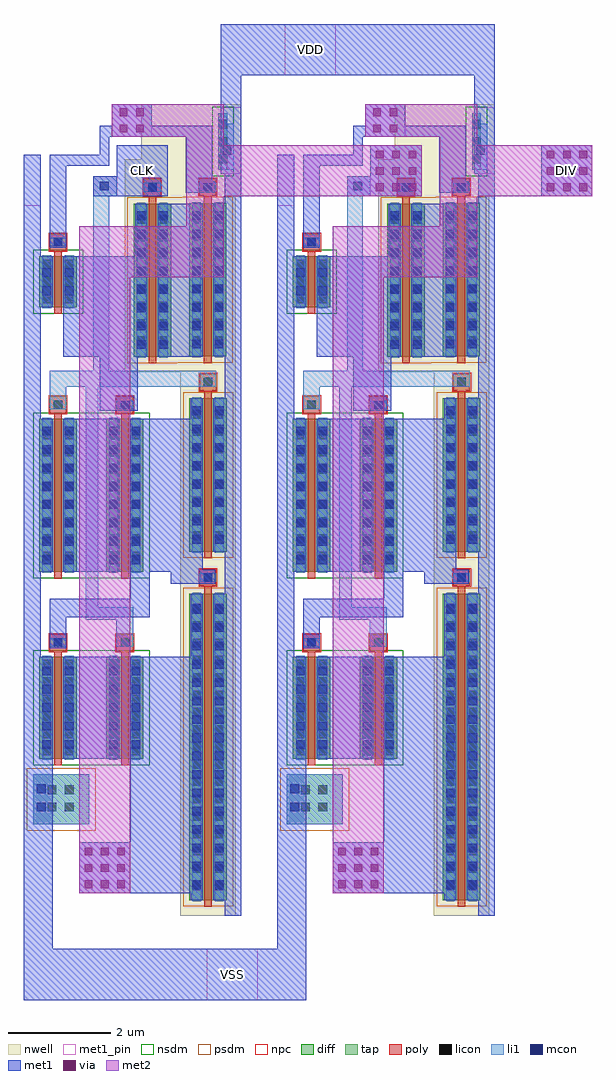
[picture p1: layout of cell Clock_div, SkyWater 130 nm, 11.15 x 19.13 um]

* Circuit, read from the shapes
.subckt Clock_div CLK DIV VDD VSS
XM1 n1 n2 VSS VSS sky130_fd_pr__nfet_01v8 w=2 l=0.15
XM2 n3 CLK VSS VSS sky130_fd_pr__nfet_01v8 w=3 l=0.15
XM3 n4 Register_tspc_1/CLK VSS VSS sky130_fd_pr__nfet_01v8 w=1 l=0.15
XM4 Register_tspc_1/CLK CLK n1 VSS sky130_fd_pr__nfet_01v8 w=2 l=0.15
XM5 n2 n4 n3 VSS sky130_fd_pr__nfet_01v8 w=3 l=0.15
XM6 n5 n6 VSS VSS sky130_fd_pr__nfet_01v8 w=2 l=0.15
XM7 n7 Register_tspc_1/CLK VSS VSS sky130_fd_pr__nfet_01v8 w=3 l=0.15
XM8 n8 DIV VSS VSS sky130_fd_pr__nfet_01v8 w=1 l=0.15
XM9 DIV Register_tspc_1/CLK n5 VSS sky130_fd_pr__nfet_01v8 w=2 l=0.15
XM10 n6 n8 n7 VSS sky130_fd_pr__nfet_01v8 w=3 l=0.15
XM11 n9 CLK n4 VDD sky130_fd_pr__pfet_01v8 w=3 l=0.15
XM12 VDD Register_tspc_1/CLK n9 VDD sky130_fd_pr__pfet_01v8 w=3 l=0.15
XM13 VDD n2 Register_tspc_1/CLK VDD sky130_fd_pr__pfet_01v8 w=6 l=0.15
XM14 VDD CLK n2 VDD sky130_fd_pr__pfet_01v8 w=3 l=0.15
XM15 n10 Register_tspc_1/CLK n8 VDD sky130_fd_pr__pfet_01v8 w=3 l=0.15
XM16 VDD DIV n10 VDD sky130_fd_pr__pfet_01v8 w=3 l=0.15
XM17 VDD n6 DIV VDD sky130_fd_pr__pfet_01v8 w=6 l=0.15
XM18 VDD Register_tspc_1/CLK n6 VDD sky130_fd_pr__pfet_01v8 w=3 l=0.15
.ends

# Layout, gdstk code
from math import pi, radians
import gdstk
lib = gdstk.Library(unit=1e-6, precision=1e-09)
def R(c, l, rs):  # rectangles x0, y0, x1, y1
    for r in rs: c.add(gdstk.rectangle(r[:2], r[2:], *l))
def A(c, l, x, y, w, h, nx, ny, dx, dy):  # array of equal rectangles
    R(c, l, [(x+i*dx, y+j*dy, x+i*dx+w, y+j*dy+h) for i in range(nx) for j in range(ny)])
nwell = (64, 20)
diff = (65, 20)
tap = (65, 44)
poly = (66, 20)
licon = (66, 44)
li1 = (67, 20)
mcon = (67, 44)
met1_pin = (68, 16)
met1 = (68, 20)
via = (68, 44)
met2 = (69, 20)
nsdm = (93, 44)
psdm = (94, 20)
npc = (95, 20)

sky130_fd_pr__pfet_01v8_ = lib.new_cell('sky130_fd_pr__pfet_01v8_5475HN')
R(sky130_fd_pr__pfet_01v8_, nwell, [(-0.545,-1.99,0.545,1.82)])
R(sky130_fd_pr__pfet_01v8_, diff, [(-0.365,-1.68,0.365,1.32)])
R(sky130_fd_pr__pfet_01v8_, poly, [(-0.075,-1.81,0.075,1.475), (-0.165,1.475,0.165,1.805)])
A(sky130_fd_pr__pfet_01v8_, licon, -0.305, -1.455, 0.17, 0.17, 1, 8, 0, 0.34)
A(sky130_fd_pr__pfet_01v8_, licon, 0.135, -1.455, 0.17, 0.17, 1, 8, 0, 0.34)
R(sky130_fd_pr__pfet_01v8_, licon, [(-0.085,1.555,0.085,1.725)])
R(sky130_fd_pr__pfet_01v8_, li1, [(-0.305,-1.7,-0.135,1.34), (0.135,-1.7,0.305,1.34), (-0.165,1.555,0.165,1.725)])
A(sky130_fd_pr__pfet_01v8_, mcon, -0.305, -1.525, 0.17, 0.17, 1, 8, 0, 0.36)
A(sky130_fd_pr__pfet_01v8_, mcon, 0.135, -1.525, 0.17, 0.17, 1, 8, 0, 0.36)
R(sky130_fd_pr__pfet_01v8_, mcon, [(-0.085,1.555,0.085,1.725)])
R(sky130_fd_pr__pfet_01v8_, met1, [(-0.335,-1.68,-0.105,1.32), (0.105,-1.68,0.335,1.32), (-0.145,1.525,0.145,1.755)])
R(sky130_fd_pr__pfet_01v8_, psdm, [(-0.49,-1.805,0.49,1.445)])
R(sky130_fd_pr__pfet_01v8_, npc, [(-0.185,1.455,0.185,1.825)])

c_sky130_fd_pr__pfet_01v8_ = lib.new_cell('sky130_fd_pr__pfet_01v8_YRA8CD')
R(c_sky130_fd_pr__pfet_01v8_, nwell, [(-0.545,-1.99,0.545,1.82)])
R(c_sky130_fd_pr__pfet_01v8_, diff, [(-0.365,-1.68,0.365,1.32)])
R(c_sky130_fd_pr__pfet_01v8_, poly, [(-0.075,-1.81,0.075,1.475), (-0.165,1.475,0.165,1.805)])
A(c_sky130_fd_pr__pfet_01v8_, licon, -0.305, -1.455, 0.17, 0.17, 1, 8, 0, 0.34)
A(c_sky130_fd_pr__pfet_01v8_, licon, 0.135, -1.455, 0.17, 0.17, 1, 8, 0, 0.34)
R(c_sky130_fd_pr__pfet_01v8_, licon, [(-0.085,1.555,0.085,1.725)])
R(c_sky130_fd_pr__pfet_01v8_, li1, [(-0.305,-1.7,-0.135,1.34), (0.135,-1.7,0.305,1.34), (-0.165,1.555,0.165,1.725)])
A(c_sky130_fd_pr__pfet_01v8_, mcon, -0.305, -1.525, 0.17, 0.17, 1, 8, 0, 0.36)
A(c_sky130_fd_pr__pfet_01v8_, mcon, 0.135, -1.525, 0.17, 0.17, 1, 8, 0, 0.36)
R(c_sky130_fd_pr__pfet_01v8_, met1, [(-0.335,-1.68,-0.105,1.32), (0.105,-1.68,0.335,1.32)])
R(c_sky130_fd_pr__pfet_01v8_, psdm, [(-0.49,-1.805,0.49,1.445)])
R(c_sky130_fd_pr__pfet_01v8_, npc, [(-0.185,1.455,0.185,1.825)])

sky130_fd_pr__nfet_01v8_ = lib.new_cell('sky130_fd_pr__nfet_01v8_NTFR9R')
R(sky130_fd_pr__nfet_01v8_, diff, [(-0.365,-0.655,0.365,0.345)])
R(sky130_fd_pr__nfet_01v8_, poly, [(-0.075,-0.785,0.075,0.455), (-0.165,0.455,0.165,0.785)])
A(sky130_fd_pr__nfet_01v8_, licon, -0.305, -0.58, 0.17, 0.17, 1, 3, 0, 0.34)
A(sky130_fd_pr__nfet_01v8_, licon, 0.135, -0.58, 0.17, 0.17, 1, 3, 0, 0.34)
R(sky130_fd_pr__nfet_01v8_, licon, [(-0.085,0.535,0.085,0.705)])
R(sky130_fd_pr__nfet_01v8_, li1, [(-0.305,-0.675,-0.135,0.365), (0.135,-0.675,0.305,0.365), (-0.165,0.535,0.165,0.705)])
R(sky130_fd_pr__nfet_01v8_, mcon, [(-0.305,-0.42,-0.135,-0.25), (0.135,-0.42,0.305,-0.25), (-0.305,-0.06,-0.135,0.11), (0.135,-0.06,0.305,0.11), (-0.085,0.535,0.085,0.705)])
R(sky130_fd_pr__nfet_01v8_, met1, [(-0.335,-0.655,-0.105,0.345), (0.105,-0.655,0.335,0.345), (-0.145,0.505,0.145,0.735)])
R(sky130_fd_pr__nfet_01v8_, nsdm, [(-0.49,-0.78,0.49,0.47)])
R(sky130_fd_pr__nfet_01v8_, npc, [(-0.185,0.435,0.185,0.805)])

c_sky130_fd_pr__nfet_01v8_ = lib.new_cell('sky130_fd_pr__nfet_01v8_5R7S7E')
R(c_sky130_fd_pr__nfet_01v8_, diff, [(-0.365,-1.655,0.365,1.345)])
R(c_sky130_fd_pr__nfet_01v8_, poly, [(-0.075,-1.785,0.075,1.455), (-0.165,1.455,0.165,1.785)])
A(c_sky130_fd_pr__nfet_01v8_, licon, -0.305, -1.43, 0.17, 0.17, 1, 8, 0, 0.34)
A(c_sky130_fd_pr__nfet_01v8_, licon, 0.135, -1.43, 0.17, 0.17, 1, 8, 0, 0.34)
R(c_sky130_fd_pr__nfet_01v8_, licon, [(-0.085,1.535,0.085,1.705)])
R(c_sky130_fd_pr__nfet_01v8_, li1, [(-0.305,-1.675,-0.135,1.365), (0.135,-1.675,0.305,1.365), (-0.165,1.535,0.165,1.705)])
A(c_sky130_fd_pr__nfet_01v8_, mcon, -0.305, -1.5, 0.17, 0.17, 1, 8, 0, 0.36)
A(c_sky130_fd_pr__nfet_01v8_, mcon, 0.135, -1.5, 0.17, 0.17, 1, 8, 0, 0.36)
R(c_sky130_fd_pr__nfet_01v8_, met1, [(-0.335,-1.655,-0.105,1.345), (0.105,-1.655,0.335,1.345)])
R(c_sky130_fd_pr__nfet_01v8_, nsdm, [(-0.49,-1.78,0.49,1.47)])
R(c_sky130_fd_pr__nfet_01v8_, npc, [(-0.185,1.435,0.185,1.805)])

c_sky130_fd_pr__nfet_01v8__ = lib.new_cell('sky130_fd_pr__nfet_01v8_KNTFKG')
R(c_sky130_fd_pr__nfet_01v8__, diff, [(-0.365,-1.655,0.365,1.345)])
R(c_sky130_fd_pr__nfet_01v8__, poly, [(-0.075,-1.785,0.075,1.455), (-0.165,1.455,0.165,1.785)])
A(c_sky130_fd_pr__nfet_01v8__, licon, -0.305, -1.43, 0.17, 0.17, 1, 8, 0, 0.34)
A(c_sky130_fd_pr__nfet_01v8__, licon, 0.135, -1.43, 0.17, 0.17, 1, 8, 0, 0.34)
R(c_sky130_fd_pr__nfet_01v8__, licon, [(-0.085,1.535,0.085,1.705)])
R(c_sky130_fd_pr__nfet_01v8__, li1, [(-0.305,-1.675,-0.135,1.365), (0.135,-1.675,0.305,1.365), (-0.165,1.535,0.165,1.705)])
A(c_sky130_fd_pr__nfet_01v8__, mcon, -0.305, -1.5, 0.17, 0.17, 1, 8, 0, 0.36)
A(c_sky130_fd_pr__nfet_01v8__, mcon, 0.135, -1.5, 0.17, 0.17, 1, 8, 0, 0.36)
R(c_sky130_fd_pr__nfet_01v8__, mcon, [(-0.085,1.535,0.085,1.705)])
R(c_sky130_fd_pr__nfet_01v8__, met1, [(-0.335,-1.655,-0.105,1.345), (0.105,-1.655,0.335,1.345), (-0.145,1.505,0.145,1.735)])
R(c_sky130_fd_pr__nfet_01v8__, nsdm, [(-0.49,-1.78,0.49,1.47)])
R(c_sky130_fd_pr__nfet_01v8__, npc, [(-0.185,1.435,0.185,1.805)])

c_sky130_fd_pr__nfet_01v8___ = lib.new_cell('sky130_fd_pr__nfet_01v8_28RQMS')
R(c_sky130_fd_pr__nfet_01v8___, diff, [(-0.365,-1.155,0.365,0.845)])
R(c_sky130_fd_pr__nfet_01v8___, poly, [(-0.075,-1.285,0.075,0.955), (-0.165,0.955,0.165,1.285)])
A(c_sky130_fd_pr__nfet_01v8___, licon, -0.305, -1.09, 0.17, 0.17, 1, 6, 0, 0.34)
A(c_sky130_fd_pr__nfet_01v8___, licon, 0.135, -1.09, 0.17, 0.17, 1, 6, 0, 0.34)
R(c_sky130_fd_pr__nfet_01v8___, licon, [(-0.085,1.035,0.085,1.205)])
R(c_sky130_fd_pr__nfet_01v8___, li1, [(-0.305,-1.175,-0.135,0.865), (0.135,-1.175,0.305,0.865), (-0.165,1.035,0.165,1.205)])
A(c_sky130_fd_pr__nfet_01v8___, mcon, -0.305, -0.96, 0.17, 0.17, 1, 5, 0, 0.36)
A(c_sky130_fd_pr__nfet_01v8___, mcon, 0.135, -0.96, 0.17, 0.17, 1, 5, 0, 0.36)
R(c_sky130_fd_pr__nfet_01v8___, mcon, [(-0.085,1.035,0.085,1.205)])
R(c_sky130_fd_pr__nfet_01v8___, met1, [(-0.335,-1.155,-0.105,0.845), (0.105,-1.155,0.335,0.845), (-0.145,1.005,0.145,1.235)])
R(c_sky130_fd_pr__nfet_01v8___, nsdm, [(-0.49,-1.28,0.49,0.97)])
R(c_sky130_fd_pr__nfet_01v8___, npc, [(-0.185,0.935,0.185,1.305)])

c_sky130_fd_pr__pfet_01v8__ = lib.new_cell('sky130_fd_pr__pfet_01v8_C6DMSJ')
R(c_sky130_fd_pr__pfet_01v8__, nwell, [(-0.545,-3.49,0.545,3.32)])
R(c_sky130_fd_pr__pfet_01v8__, diff, [(-0.365,-3.18,0.365,2.82)])
R(c_sky130_fd_pr__pfet_01v8__, poly, [(-0.075,-3.31,0.075,2.975), (-0.165,2.975,0.165,3.305)])
A(c_sky130_fd_pr__pfet_01v8__, licon, -0.305, -2.985, 0.17, 0.17, 1, 17, 0, 0.34)
A(c_sky130_fd_pr__pfet_01v8__, licon, 0.135, -2.985, 0.17, 0.17, 1, 17, 0, 0.34)
R(c_sky130_fd_pr__pfet_01v8__, licon, [(-0.085,3.055,0.085,3.225)])
R(c_sky130_fd_pr__pfet_01v8__, li1, [(-0.305,-3.2,-0.135,2.84), (0.135,-3.2,0.305,2.84), (-0.165,3.055,0.165,3.225)])
A(c_sky130_fd_pr__pfet_01v8__, mcon, -0.305, -2.965, 0.17, 0.17, 1, 16, 0, 0.36)
A(c_sky130_fd_pr__pfet_01v8__, mcon, 0.135, -2.965, 0.17, 0.17, 1, 16, 0, 0.36)
R(c_sky130_fd_pr__pfet_01v8__, mcon, [(-0.085,3.055,0.085,3.225)])
R(c_sky130_fd_pr__pfet_01v8__, met1, [(-0.335,-3.18,-0.105,2.82), (0.105,-3.18,0.335,2.82), (-0.145,3.025,0.145,3.255)])
R(c_sky130_fd_pr__pfet_01v8__, psdm, [(-0.49,-3.305,0.49,2.945)])
R(c_sky130_fd_pr__pfet_01v8__, npc, [(-0.185,2.955,0.185,3.325)])

c_sky130_fd_pr__nfet_01v8____ = lib.new_cell('sky130_fd_pr__nfet_01v8_TUG65L')
R(c_sky130_fd_pr__nfet_01v8____, diff, [(-0.365,-1.155,0.365,0.845)])
R(c_sky130_fd_pr__nfet_01v8____, poly, [(-0.075,-1.285,0.075,0.955), (-0.165,0.955,0.165,1.285)])
A(c_sky130_fd_pr__nfet_01v8____, licon, -0.305, -1.09, 0.17, 0.17, 1, 6, 0, 0.34)
A(c_sky130_fd_pr__nfet_01v8____, licon, 0.135, -1.09, 0.17, 0.17, 1, 6, 0, 0.34)
R(c_sky130_fd_pr__nfet_01v8____, licon, [(-0.085,1.035,0.085,1.205)])
R(c_sky130_fd_pr__nfet_01v8____, li1, [(-0.305,-1.175,-0.135,0.865), (0.135,-1.175,0.305,0.865), (-0.165,1.035,0.165,1.205)])
A(c_sky130_fd_pr__nfet_01v8____, mcon, -0.305, -0.96, 0.17, 0.17, 1, 5, 0, 0.36)
A(c_sky130_fd_pr__nfet_01v8____, mcon, 0.135, -0.96, 0.17, 0.17, 1, 5, 0, 0.36)
R(c_sky130_fd_pr__nfet_01v8____, met1, [(-0.335,-1.155,-0.105,0.845), (0.105,-1.155,0.335,0.845)])
R(c_sky130_fd_pr__nfet_01v8____, nsdm, [(-0.49,-1.28,0.49,0.97)])
R(c_sky130_fd_pr__nfet_01v8____, npc, [(-0.185,0.935,0.185,1.305)])

register_tspc = lib.new_cell('Register_tspc')
R(register_tspc, nwell, [(6.75,-1.44,7.82,-1.11), (5.67,-1.11,7.82,0.74), (10.64,-0.35,17.45,0.74), (5.67,0.74,7.49,0.85)])
R(register_tspc, tap, [(18.81,-3.23,19.79,-2.13), (5.85,0.4,6.96,0.57)])
A(register_tspc, licon, 5.98, 0.4, 0.17, 0.17, 3, 1, 0.34, 0)
R(register_tspc, licon, [(19.025,-2.95,19.195,-2.78), (19.365,-2.95,19.535,-2.78), (19.025,-2.61,19.195,-2.44), (19.365,-2.61,19.535,-2.44)])
R(register_tspc, li1, [(18.81,-3.23,19.79,-2.13), (10.9,-2.91,11.65,-2.58), (10.9,-2.58,11.21,-2.2), (10.9,-2.2,15.78,-2.05), (7.08,-2.05,15.78,-1.96), (7.08,-1.96,11.21,-1.74), (15.53,-1.96,15.78,-1.6), (7.08,-1.74,7.48,-1.59), (10.9,-1.74,11.21,0.36), (15.53,-1.6,16.31,-1.27), (5.85,0.4,6.96,0.57), (6.06,0.57,6.96,0.7)])
R(register_tspc, mcon, [(19.005,-3.16,19.175,-2.99), (19.365,-3.16,19.535,-2.99), (7.19,-1.925,7.36,-1.755), (6.49,0.48,6.66,0.65)])
R(register_tspc, met1_pin, [(6.66,-3.42,7.66,-3.08), (20.14,-2.33,21.14,-1.33), (5.67,-1.69,6.31,-0.91), (6.48,-1.59,7.48,-0.59), (5.73,0.44,7.04,0.85)])
R(register_tspc, met1, [(6.66,-3.42,19.79,-3.08), (18.38,-3.08,19.79,-2.85), (6.66,-2.91,8.49,-2.58), (15.37,-2.91,16.34,-2.58), (8.65,-2.64,10.62,-1.93), (11.84,-2.64,14.84,-1.54), (16.5,-2.64,18.5,-1.54), (6.66,-2.58,6.88,-1.93), (15.37,-2.58,15.73,-1.33), (20.14,-2.33,21.14,-1.33), (7.08,-2.05,7.48,-1.59), (6.09,-1.93,6.88,-1.74), (8.65,-1.93,11.68,-1.18), (6.09,-1.74,6.31,-1.69), (5.67,-1.69,6.31,-0.91), (6.48,-1.59,7.48,-0.59), (11.84,-1.33,15.73,-0.95), (16.5,-1.33,21.14,-0.04), (8.65,-1.18,10.62,-1), (11.84,-0.95,14.84,-0.54), (6.09,-0.91,6.31,-0.24), (7.62,-0.79,10.62,0.09), (11.84,-0.54,15.07,0.09), (6.09,-0.24,7.41,0.28), (18.22,-0.04,21.14,0.02), (14.8,0.09,15.07,0.34), (5.73,0.44,7.04,0.52), (5.73,0.52,21.58,0.85)])
R(register_tspc, nsdm, [(11.715,-2.255,14.965,-1.925), (16.375,-2.255,18.625,-1.925), (5.725,0.275,7.085,0.695)])
R(register_tspc, psdm, [(18.685,-3.355,19.915,-2.005), (7.495,-0.405,10.74,-0.3)])
register_tspc.add(gdstk.Reference(sky130_fd_pr__pfet_01v8_, (8.935,0.19), rotation=pi/2))
register_tspc.add(gdstk.Reference(c_sky130_fd_pr__pfet_01v8_, (12.76,0.195), rotation=pi/2))
register_tspc.add(gdstk.Reference(sky130_fd_pr__nfet_01v8_, (8.995,-2.745), rotation=pi/2))
register_tspc.add(gdstk.Reference(c_sky130_fd_pr__nfet_01v8_, (13.185,-2.745), rotation=pi/2))
register_tspc.add(gdstk.Reference(c_sky130_fd_pr__nfet_01v8__, (13.185,-1.435), rotation=pi/2))
register_tspc.add(gdstk.Reference(c_sky130_fd_pr__nfet_01v8___, (17.345,-2.745), rotation=pi/2))
register_tspc.add(gdstk.Reference(sky130_fd_pr__pfet_01v8_, (8.94,-0.895), rotation=pi/2))
register_tspc.add(gdstk.Reference(c_sky130_fd_pr__pfet_01v8__, (18.09,0.195), rotation=pi/2))
register_tspc.add(gdstk.Reference(c_sky130_fd_pr__nfet_01v8____, (17.345,-1.435), rotation=pi/2))
register_tspc.add(gdstk.Label('VDD', (6.385,0.645), layer=68, texttype=5))
register_tspc.add(gdstk.Label('VSS', (7.16,-3.25), layer=68, texttype=5))
register_tspc.add(gdstk.Label('Qc', (20.64,-1.83), layer=68, texttype=5))
register_tspc.add(gdstk.Label('CLK', (6.98,-1.09), layer=68, texttype=5))
register_tspc.add(gdstk.Label('D', (5.99,-1.3), layer=68, texttype=5))

clock_div = lib.new_cell('Clock_div')
R(clock_div, met1_pin, [(0.61,-7.49,1.61,-6.49), (-1.15,8.26,-0.15,9.26), (7.17,8.26,8.17,9.26), (2.14,10.64,3.14,11.64)])
R(clock_div, met1, [(-2.98,-7.49,2.56,-6.49), (-2.98,-6.49,-2.41,-3.85), (1.99,-6.49,2.56,-3.63), (-1.86,-5.37,-0.92,-4.43), (3.11,-5.37,4.05,-4.43), (-1.15,8.26,-0.15,9.26), (7.17,8.26,8.17,9.26), (3.85,8.29,4.79,9.23), (-1.22,9.46,-0.5,10.04), (3.75,9.46,4.47,10.04), (0.88,9.85,1.29,10.64), (5.85,10.01,6.26,10.64), (0.88,10.64,6.26,11.64)])
A(clock_div, via, -1.785, -5.295, 0.15, 0.15, 3, 3, 0.32, 0.32)
A(clock_div, via, 3.185, -5.295, 0.15, 0.15, 3, 3, 0.32, 0.32)
A(clock_div, via, 3.925, 8.365, 0.15, 0.15, 3, 3, 0.32, 0.32)
A(clock_div, via, 7.275, 8.365, 0.15, 0.15, 3, 3, 0.32, 0.32)
R(clock_div, via, [(-1.095,9.515,-0.945,9.665), (-0.775,9.515,-0.625,9.665), (3.875,9.515,4.025,9.665), (4.195,9.515,4.345,9.665), (-1.095,9.835,-0.945,9.985), (-0.775,9.835,-0.625,9.985), (3.875,9.835,4.025,9.985), (4.195,9.835,4.345,9.985)])
R(clock_div, met2, [(-1.89,-5.4,-0.89,6.68), (3.08,-5.4,4.08,6.68), (-1.89,6.68,0.94,7.68), (3.08,6.68,5.91,7.68), (0.21,7.68,0.94,8.26), (5.18,7.68,5.91,8.26), (0.21,8.26,4.82,9.26), (5.18,8.26,8.17,9.26), (0.21,9.26,0.94,9.43), (5.18,9.26,5.91,9.43), (-1.25,9.43,0.94,10.07), (3.72,9.43,5.91,10.07)])
clock_div.add(gdstk.Reference(register_tspc, (0.44,15.74), rotation=3*pi/2))
clock_div.add(gdstk.Reference(register_tspc, (5.41,15.74), rotation=3*pi/2))
clock_div.add(gdstk.Label('CLK', (-0.65,8.76), layer=68, texttype=5))
clock_div.add(gdstk.Label('VSS', (1.11,-6.99), layer=68, texttype=5))
clock_div.add(gdstk.Label('DIV', (7.67,8.76), layer=68, texttype=5))
clock_div.add(gdstk.Label('VDD', (2.64,11.14), layer=68, texttype=5))

lib.write_gds('Clock_div.gds')
